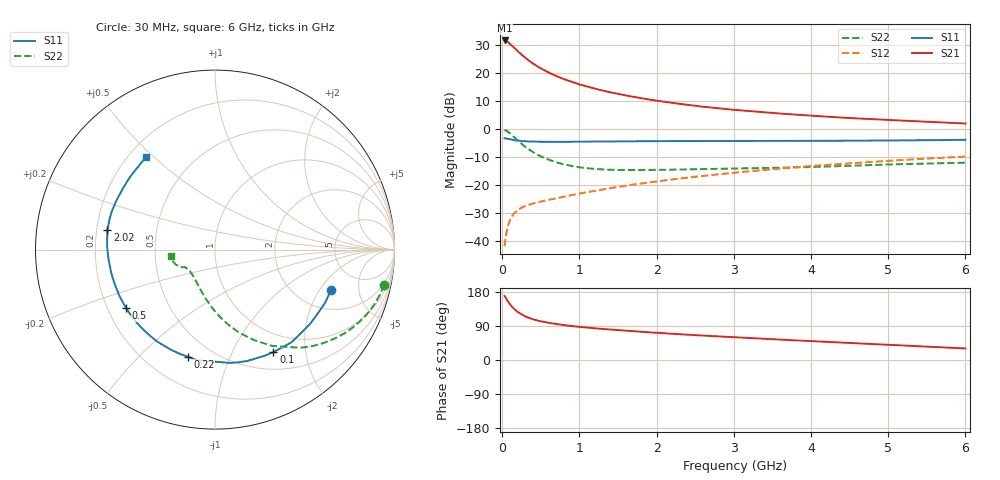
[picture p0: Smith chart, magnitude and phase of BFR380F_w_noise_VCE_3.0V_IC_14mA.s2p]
! Infineon Technologies  Discrete & RF Semiconductors
! BFR380F
! VCE =  3.0 V,  IC =  14 mA
! Common Emitter S-Parameters:  Nov 2015
# GHz  S  MA  R  50
!  f  S11  S21  S12  S22
! GHz  MAG  ANG  MAG  ANG  MAG  ANG  MAG  ANG
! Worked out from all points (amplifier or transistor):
!   206 points, 30 MHz to 6 GHz, reference 50 ohm
!   highest |S21| = 31.6 dB at 30 MHz (marker M1)
!   |S21| within 3 dB of that: start of sweep to 169.3 MHz
!   unconditionally stable (mu >= 1): 1.564 GHz to 5.08 GHz
!   at 200 MHz: K = 0.29, MSG = 28.3 dB, |S12| = -28.9 dB
!   at 1.56 GHz: K = 1.00, MSG = 16.3 dB, |S12| = -20.4 dB
!   at 6 GHz: K = 0.98, MSG = 5.9 dB, |S12| = -9.9 dB
!   lowest NFmin = 0.94 dB at 900 MHz
!   S11 on the Smith chart (normalised r, x): 30 MHz: 3.00, -2.57; 100 MHz: 0.73, -1.46; 220 MHz: 0.37, -0.71; 500 MHz: 0.28, -0.28; 2.02 GHz: 0.24, +0.08; 6 GHz: 0.27, +0.47
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0.03  0.6845 -19.4  38.09 169.0  0.0081 81.2  0.9635 -11.8
0.05  0.674 -32.5  37.28 161.6  0.0131 76.6  0.9377 -19.3
0.07  0.6677 -44.3  35.76 155.4  0.0178 71.2  0.9005 -26.4
0.1  0.657 -60.3  33.13 147.0  0.0235 65.2  0.836 -35.9
0.12  0.6473 -69.6  31.27 142.0  0.0269 61.5  0.7901 -41.6
0.15  0.6372 -82.4  28.62 135.4  0.0309 57.3  0.7237 -49.1
0.2  0.624 -99.3  24.52 126.6  0.0359 52.3  0.6241 -59.3
0.22  0.6158 -104.3  23.17 124.2  0.0373 51.0  0.5904 -62.3
0.26  0.6096 -114.0  20.69 119.2  0.0401 48.9  0.5298 -68.6
0.3  0.6054 -122.3  18.56 114.8  0.0423 47.6  0.4782 -74.1
0.34  0.6002 -128.7  16.82 111.7  0.0442 46.9  0.4368 -78.5
0.4  0.5967 -136.7  14.67 107.3  0.0468 46.5  0.3859 -84.5
0.5  0.5932 -146.5  12.04 102.0  0.0507 47.0  0.3247 -92.8
0.7  0.5911 -159.3  8.814 94.8  0.0583 49.7  0.2543 -105.7
0.9  0.5928 -167.4  6.931 89.6  0.0663 52.7  0.2185 -115.7
1.04  0.5935 -171.8  6.036 86.7  0.0722 54.5  0.204 -121.5
1.4  0.5999 179.8  4.514 80.3  0.0881 58.1  0.1874 -133.2
2.02  0.6088 169.8  3.176 71.6  0.1172 61.4  0.1865 -143.5
3.1  0.6128 157.6  2.145 59.1  0.1708 62.4  0.1978 -150.5
4.1  0.6153 147.0  1.696 48.7  0.2231 60.4  0.2115 -152.8
5.1  0.6248 137.1  1.43 39.2  0.2753 57.1  0.2349 -159.8
6  0.6423 126.9  1.254 30.5  0.3213 52.7  0.2505 -171.2
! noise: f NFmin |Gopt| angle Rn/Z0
0.45  0.96  0.12  161  0.08
0.9  0.94  0.2  154  0.08
1.8  1.18  0.33  176  0.07
1.9  1.26  0.34  176  0.07
2.4  1.38  0.37  -171  0.08
3.5  1.98  0.48  -157  0.11
